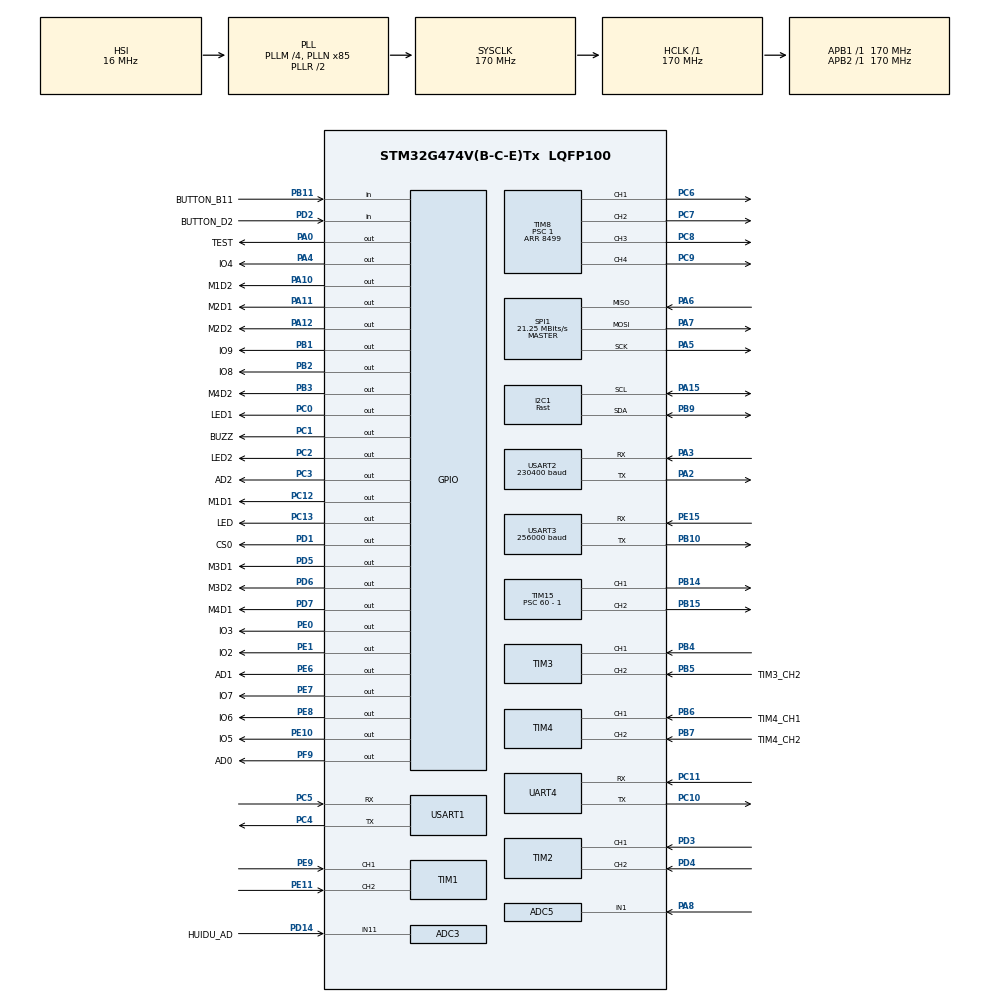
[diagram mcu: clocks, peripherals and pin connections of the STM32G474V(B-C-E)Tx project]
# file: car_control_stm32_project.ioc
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ADC3.Channel-0\#ChannelRegularConversion=ADC_CHANNEL_11
ADC3.NbrOfConversionFlag=1
ADC3.OffsetNumber-0\#ChannelRegularConversion=ADC_OFFSET_NONE
ADC3.Rank-0\#ChannelRegularConversion=1
ADC3.Resolution=ADC_RESOLUTION_12B
ADC3.SamplingTime-0\#ChannelRegularConversion=ADC_SAMPLETIME_24CYCLES_5
ADC3.master=1
ADC5.Channel-0\#ChannelRegularConversion=ADC_CHANNEL_1
ADC5.ContinuousConvMode=ENABLE
ADC5.NbrOfConversionFlag=1
ADC5.OffsetNumber-0\#ChannelRegularConversion=ADC_OFFSET_NONE
ADC5.Rank-0\#ChannelRegularConversion=1
ADC5.SamplingTime-0\#ChannelRegularConversion=ADC_SAMPLETIME_2CYCLES_5
Dma.I2C1_RX.1.Direction=DMA_PERIPH_TO_MEMORY
Dma.I2C1_RX.1.EventEnable=DISABLE
Dma.I2C1_RX.1.Instance=DMA2_Channel1
Dma.I2C1_RX.1.MemDataAlignment=DMA_MDATAALIGN_BYTE
Dma.I2C1_RX.1.MemInc=DMA_MINC_ENABLE
Dma.I2C1_RX.1.Mode=DMA_NORMAL
Dma.I2C1_RX.1.PeriphDataAlignment=DMA_PDATAALIGN_BYTE
Dma.I2C1_RX.1.PeriphInc=DMA_PINC_DISABLE
Dma.I2C1_RX.1.Polarity=HAL_DMAMUX_REQ_GEN_RISING
Dma.I2C1_RX.1.Priority=DMA_PRIORITY_HIGH
Dma.I2C1_RX.1.RequestNumber=1
Dma.I2C1_RX.1.SignalID=NONE
Dma.I2C1_RX.1.SyncEnable=DISABLE
Dma.I2C1_RX.1.SyncPolarity=HAL_DMAMUX_SYNC_NO_EVENT
Dma.I2C1_RX.1.SyncRequestNumber=1
Dma.I2C1_RX.1.SyncSignalID=NONE
Dma.Request0=UART4_RX
Dma.Request1=I2C1_RX
Dma.Request2=UART4_TX
Dma.Request3=USART3_TX
Dma.UART4_RX.0.Direction=DMA_PERIPH_TO_MEMORY
Dma.UART4_RX.0.EventEnable=DISABLE
Dma.UART4_RX.0.Instance=DMA1_Channel7
Dma.UART4_RX.0.MemDataAlignment=DMA_MDATAALIGN_BYTE
Dma.UART4_RX.0.MemInc=DMA_MINC_ENABLE
Dma.UART4_RX.0.Mode=DMA_CIRCULAR
Dma.UART4_RX.0.PeriphDataAlignment=DMA_PDATAALIGN_BYTE
Dma.UART4_RX.0.PeriphInc=DMA_PINC_DISABLE
Dma.UART4_RX.0.Polarity=HAL_DMAMUX_REQ_GEN_RISING
Dma.UART4_RX.0.Priority=DMA_PRIORITY_HIGH
Dma.UART4_RX.0.RequestNumber=1
Dma.UART4_RX.0.SignalID=NONE
Dma.UART4_RX.0.SyncEnable=DISABLE
Dma.UART4_RX.0.SyncPolarity=HAL_DMAMUX_SYNC_NO_EVENT
Dma.UART4_RX.0.SyncRequestNumber=1
Dma.UART4_RX.0.SyncSignalID=NONE
Dma.UART4_TX.2.Direction=DMA_MEMORY_TO_PERIPH
Dma.UART4_TX.2.EventEnable=DISABLE
Dma.UART4_TX.2.Instance=DMA1_Channel2
Dma.UART4_TX.2.MemDataAlignment=DMA_MDATAALIGN_BYTE
Dma.UART4_TX.2.MemInc=DMA_MINC_ENABLE
Dma.UART4_TX.2.Mode=DMA_NORMAL
Dma.UART4_TX.2.PeriphDataAlignment=DMA_PDATAALIGN_BYTE
Dma.UART4_TX.2.PeriphInc=DMA_PINC_DISABLE
Dma.UART4_TX.2.Polarity=HAL_DMAMUX_REQ_GEN_RISING
Dma.UART4_TX.2.Priority=DMA_PRIORITY_MEDIUM
Dma.UART4_TX.2.RequestNumber=1
Dma.UART4_TX.2.SignalID=NONE
Dma.UART4_TX.2.SyncEnable=DISABLE
Dma.UART4_TX.2.SyncPolarity=HAL_DMAMUX_SYNC_NO_EVENT
Dma.UART4_TX.2.SyncRequestNumber=1
Dma.UART4_TX.2.SyncSignalID=NONE
Dma.USART3_TX.3.Direction=DMA_MEMORY_TO_PERIPH
Dma.USART3_TX.3.EventEnable=DISABLE
Dma.USART3_TX.3.Instance=DMA1_Channel1
Dma.USART3_TX.3.MemDataAlignment=DMA_MDATAALIGN_BYTE
Dma.USART3_TX.3.MemInc=DMA_MINC_ENABLE
Dma.USART3_TX.3.Mode=DMA_NORMAL
Dma.USART3_TX.3.PeriphDataAlignment=DMA_PDATAALIGN_BYTE
Dma.USART3_TX.3.PeriphInc=DMA_PINC_DISABLE
Dma.USART3_TX.3.Polarity=HAL_DMAMUX_REQ_GEN_RISING
Dma.USART3_TX.3.Priority=DMA_PRIORITY_HIGH
Dma.USART3_TX.3.RequestNumber=1
Dma.USART3_TX.3.SignalID=NONE
Dma.USART3_TX.3.SyncEnable=DISABLE
Dma.USART3_TX.3.SyncPolarity=HAL_DMAMUX_SYNC_NO_EVENT
Dma.USART3_TX.3.SyncRequestNumber=1
Dma.USART3_TX.3.SyncSignalID=NONE
I2C1.I2C_Speed_Mode=I2C_Fast
I2C1.Timing=0x10802D9B
Mcu.Family=STM32G4
Mcu.Name=STM32G474V(B-C-E)Tx
Mcu.Package=LQFP100
NVIC.DMA1_Channel1_IRQn=true\:2\:0\:true\:false\:true\:false\:true\:true
NVIC.DMA1_Channel2_IRQn=true\:9\:0\:true\:false\:true\:false\:true\:true
NVIC.DMA1_Channel7_IRQn=true\:4\:0\:true\:false\:true\:false\:true\:true
NVIC.DMA2_Channel1_IRQn=true\:1\:0\:true\:false\:true\:false\:true\:true
NVIC.I2C1_ER_IRQn=true\:1\:0\:true\:false\:true\:true\:true\:true
NVIC.I2C1_EV_IRQn=true\:1\:0\:true\:false\:true\:true\:true\:true
NVIC.PriorityGroup=NVIC_PRIORITYGROUP_4
NVIC.TIM1_TRG_COM_TIM17_IRQn=true\:15\:0\:false\:false\:true\:false\:true\:true
NVIC.TIM4_IRQn=true\:2\:0\:true\:false\:true\:true\:true\:true
NVIC.TIM5_IRQn=true\:3\:0\:true\:false\:true\:true\:true\:true
NVIC.UART4_IRQn=true\:4\:0\:true\:false\:true\:true\:true\:true
NVIC.USART1_IRQn=true\:7\:0\:true\:false\:true\:true\:true\:true
NVIC.USART2_IRQn=true\:0\:0\:true\:false\:true\:true\:true\:true
NVIC.USART3_IRQn=true\:2\:0\:true\:false\:true\:true\:true\:true
PA0.GPIO_Label=TEST
PA0.Signal=GPIO_Output
PA10.GPIO_Label=M1D2
PA10.Signal=GPIO_Output
PA11.GPIO_Label=M2D1
PA11.Signal=GPIO_Output
PA12.GPIO_Label=M2D2
PA12.Signal=GPIO_Output
PA13.Mode=Serial_Wire
PA13.Signal=SYS_JTMS-SWDIO
PA14.Mode=Serial_Wire
PA14.Signal=SYS_JTCK-SWCLK
PA15.Mode=I2C
PA15.Signal=I2C1_SCL
PA2.Mode=Asynchronous
PA2.Signal=USART2_TX
PA3.Mode=Asynchronous
PA3.Signal=USART2_RX
PA4.GPIO_Label=IO4
PA4.Signal=GPIO_Output
PA5.Mode=Full_Duplex_Master
PA5.Signal=SPI1_SCK
PA6.Mode=Full_Duplex_Master
PA6.Signal=SPI1_MISO
PA7.Mode=Full_Duplex_Master
PA7.Signal=SPI1_MOSI
PA8.Mode=IN1-Single-Ended
PA8.Signal=ADC5_IN1
PB1.GPIO_Label=IO9
PB1.Signal=GPIO_Output
PB10.Mode=Asynchronous
PB10.Signal=USART3_TX
PB11.GPIO_Label=BUTTON_B11
PB11.GPIO_PuPd=GPIO_PULLUP
PB11.Signal=GPIO_Input
PB14.Signal=S_TIM15_CH1
PB15.Signal=S_TIM15_CH2
PB2.GPIO_Label=IO8
PB2.Signal=GPIO_Output
PB3.GPIO_Label=M4D2
PB3.Signal=GPIO_Output
PB4.Signal=S_TIM3_CH1
PB5.GPIO_Label=TIM3_CH2
PB5.Signal=S_TIM3_CH2
PB6.GPIO_Label=TIM4_CH1
PB6.Signal=S_TIM4_CH1
PB7.GPIO_Label=TIM4_CH2
PB7.Signal=S_TIM4_CH2
PB9.Mode=I2C
PB9.Signal=I2C1_SDA
PC0.GPIO_Label=LED1
PC0.Signal=GPIO_Output
PC1.GPIO_Label=BUZZ
PC1.Signal=GPIO_Output
PC10.Mode=Asynchronous
PC10.Signal=UART4_TX
PC11.Mode=Asynchronous
PC11.Signal=UART4_RX
PC12.GPIO_Label=M1D1
PC12.Signal=GPIO_Output
PC13.GPIO_Label=LED
PC13.Signal=GPIO_Output
PC2.GPIO_Label=LED2
PC2.Signal=GPIO_Output
PC3.GPIO_Label=AD2
PC3.Signal=GPIO_Output
PC4.Mode=Asynchronous
PC4.Signal=USART1_TX
PC5.Mode=Asynchronous
PC5.Signal=USART1_RX
PC6.Signal=S_TIM8_CH1
PC7.Signal=S_TIM8_CH2
PC8.Signal=S_TIM8_CH3
PC9.Signal=S_TIM8_CH4
PD1.GPIO_Label=CS0
PD1.Signal=GPIO_Output
PD14.GPIO_Label=HUIDU_AD
PD14.Mode=IN11-Single-Ended
PD14.Signal=ADC3_IN11
PD2.GPIO_Label=BUTTON_D2
PD2.GPIO_PuPd=GPIO_PULLUP
PD2.Signal=GPIO_Input
PD3.Signal=S_TIM2_CH1
PD4.Signal=S_TIM2_CH2
PD5.GPIO_Label=M3D1
PD5.Signal=GPIO_Output
PD6.GPIO_Label=M3D2
PD6.Signal=GPIO_Output
PD7.GPIO_Label=M4D1
PD7.Signal=GPIO_Output
PE0.GPIO_Label=IO3
PE0.Signal=GPIO_Output
PE1.GPIO_Label=IO2
PE1.Signal=GPIO_Output
PE10.GPIO_Label=IO5
PE10.Signal=GPIO_Output
PE11.Signal=S_TIM1_CH2
PE15.Mode=Asynchronous
PE15.Signal=USART3_RX
PE6.GPIO_Label=AD1
PE6.Signal=GPIO_Output
PE7.GPIO_Label=IO7
PE7.Signal=GPIO_Output
PE8.GPIO_Label=IO6
PE8.Signal=GPIO_Output
PE9.Signal=S_TIM1_CH1
PF9.GPIO_Label=AD0
PF9.Signal=GPIO_Output
ProjectManager.HeapSize=0x200
ProjectManager.StackSize=0x400
ProjectManager.TargetToolchain=MDK-ARM V5.32
RCC.ADC12Freq_Value=170000000
RCC.ADC345Freq_Value=170000000
RCC.AHBFreq_Value=170000000
RCC.APB1Freq_Value=170000000
RCC.APB1TimFreq_Value=170000000
RCC.APB2Freq_Value=170000000
RCC.APB2TimFreq_Value=170000000
RCC.CortexFreq_Value=170000000
RCC.EXTERNAL_CLOCK_VALUE=12288000
RCC.HCLKFreq_Value=170000000
RCC.HSE_VALUE=8000000
RCC.HSI48_VALUE=48000000
RCC.HSI_VALUE=16000000
RCC.LSE_VALUE=32768
RCC.PLLM=RCC_PLLM_DIV4
RCC.PLLN=85
RCC.SYSCLKFreq_VALUE=170000000
RCC.SYSCLKSource=RCC_SYSCLKSOURCE_PLLCLK
RCC.USBFreq_Value=170000000
RCC.VCOOutputFreq_Value=340000000
SH.S_TIM15_CH1.0=TIM15_CH1,PWM Generation1 CH1
SH.S_TIM15_CH2.0=TIM15_CH2,PWM Generation2 CH2
SH.S_TIM1_CH1.0=TIM1_CH1,Encoder_Interface
SH.S_TIM1_CH2.0=TIM1_CH2,Encoder_Interface
SH.S_TIM2_CH1.0=TIM2_CH1,Encoder_Interface
SH.S_TIM2_CH2.0=TIM2_CH2,Encoder_Interface
SH.S_TIM3_CH1.0=TIM3_CH1,Encoder_Interface
SH.S_TIM3_CH2.0=TIM3_CH2,Encoder_Interface
SH.S_TIM4_CH1.0=TIM4_CH1,Encoder_Interface
SH.S_TIM4_CH2.0=TIM4_CH2,Encoder_Interface
SH.S_TIM8_CH1.0=TIM8_CH1,PWM Generation1 CH1
SH.S_TIM8_CH2.0=TIM8_CH2,PWM Generation2 CH2
SH.S_TIM8_CH3.0=TIM8_CH3,PWM Generation3 CH3
SH.S_TIM8_CH4.0=TIM8_CH4,PWM Generation4 CH4
SPI1.BaudRatePrescaler=SPI_BAUDRATEPRESCALER_8
SPI1.CalculateBaudRate=21.25 MBits/s
SPI1.Direction=SPI_DIRECTION_2LINES
SPI1.Mode=SPI_MODE_MASTER
SPI1.VirtualType=VM_MASTER
TIM1.EncoderMode=TIM_ENCODERMODE_TI12
TIM15.AutoReloadPreload=TIM_AUTORELOAD_PRELOAD_ENABLE
TIM15.Channel-PWM\ Generation1\ CH1=TIM_CHANNEL_1
TIM15.Channel-PWM\ Generation2\ CH2=TIM_CHANNEL_2
TIM15.PeriodNoDither=50000-1
TIM15.Prescaler=60 - 1
TIM15.PulseNoDither_1=0
TIM15.PulseNoDither_2=0
TIM2.EncoderMode=TIM_ENCODERMODE_TI12
TIM3.EncoderMode=TIM_ENCODERMODE_TI12
TIM4.EncoderMode=TIM_ENCODERMODE_TI12
TIM5.AutoReloadPreload=TIM_AUTORELOAD_PRELOAD_ENABLE
TIM5.PeriodNoDither=1000-1
TIM5.Prescaler=150-1
TIM6.AutoReloadPreload=TIM_AUTORELOAD_PRELOAD_ENABLE
TIM6.PeriodNoDither=250-1
TIM6.Prescaler=3-1
TIM8.AutoReloadPreload=TIM_AUTORELOAD_PRELOAD_ENABLE
TIM8.Channel-PWM\ Generation1\ CH1=TIM_CHANNEL_1
TIM8.Channel-PWM\ Generation2\ CH2=TIM_CHANNEL_2
TIM8.Channel-PWM\ Generation3\ CH3=TIM_CHANNEL_3
TIM8.Channel-PWM\ Generation4\ CH4=TIM_CHANNEL_4
TIM8.PeriodNoDither=8499
TIM8.Prescaler=1
USART1.VirtualMode-Asynchronous=VM_ASYNC
USART2.BaudRate=230400
USART2.VirtualMode-Asynchronous=VM_ASYNC
USART3.BaudRate=256000
USART3.VirtualMode-Asynchronous=VM_ASYNC
VP_SYS_VS_DBSignals.Mode=DisableDeadBatterySignals
VP_TIM15_VS_ClockSourceINT.Mode=Internal
VP_TIM5_VS_ClockSourceINT.Mode=Internal
VP_TIM6_VS_ClockSourceINT.Mode=Enable_Timer
board=custom

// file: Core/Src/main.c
/* USER CODE BEGIN Header */
/**
 ******************************************************************************
 * @file           : main.c
 * @brief          : Main program body
 ******************************************************************************
 * @attention
 *
 * Copyright (c) 2025 STMicroelectronics.
 * All rights reserved.
 *
 * This software is licensed under terms that can be found in the LICENSE file
 * in the root directory of this software component.
 * If no LICENSE file comes with this software, it is provided AS-IS.
 *
 ******************************************************************************
 */
/* USER CODE END Header */
#include "main.h"
#include "adc.h"
#include "dma.h"
#include "i2c.h"
#include "spi.h"
#include "tim.h"
#include "usart.h"
#include "gpio.h"

/* USER CODE BEGIN Includes */
#include "log.h"
#include "status.h"
#include "uart_it.h"
#include "pid.h"
#include "wheel.h"
#include "servo.h"
#include "led.h"
#include "button.h"
#include "math_tool.h"
#include "stdio.h"
#include <stdlib.h>
#include "task.h"
#include "lora.h"
#include "maixcam.h"
#include "Emm_v5.h"
#include "ball_control.h"
#include "ball_id.h"

/* USER CODE END Includes */

/* USER CODE BEGIN PV */
int16_t cmd_speed = 12;
extern uint8_t cross_cnt;
extern int16_t  task2_front_kick_pwm;
extern uint32_t task2_front_kick_time;
extern int16_t  task2_back_swing_pwm;
extern uint32_t task2_back_swing_time;
extern int16_t  task2_balance_min_pwm;
extern int16_t  task2_recover_pwm;
extern uint32_t task2_recover_time;
extern uint8_t  task2_direct_pwm;
extern ADC_HandleTypeDef hadc5;
/* USER CODE END PV */

void SystemClock_Config(void);
/* USER CODE BEGIN PFP */
void gan_init(void);
int fputc(int ch, FILE *f)
{
    while (!(USART1->ISR & USART_ISR_TXE));
    USART1->TDR = (uint8_t)ch;
    return ch;
}
/* USER CODE END PFP */

int main(void)
{

  /* MCU Configuration--------------------------------------------------------*/

  /* Reset of all peripherals, Initializes the Flash interface and the Systick. */
  HAL_Init();

  /* Configure the system clock */
  SystemClock_Config();

  /* Initialize all configured peripherals */
  MX_GPIO_Init();
  MX_DMA_Init();
  MX_ADC3_Init();
  MX_TIM1_Init();
  MX_TIM2_Init();
  MX_TIM3_Init();
  MX_TIM4_Init();
  MX_TIM8_Init();
  MX_TIM15_Init();
  MX_UART4_Init();
  MX_USART1_UART_Init();
  MX_USART2_UART_Init();
  MX_USART3_UART_Init();
  MX_TIM5_Init();
  MX_TIM6_Init();
  MX_I2C1_Init();
  MX_SPI1_Init();
  MX_ADC5_Init();
  /* USER CODE BEGIN 2 */
  init_status(&status, 5);
  iic_gyr_read_dma(&hi2c1, &status.sensor.gy901);
  status.state.motion = STOP;
  init_uart_pid_tune();
  init_uart_gyr();
  init_stepper_uart();
  init_maixcam_uart();
  ESP8266_Init("F521F520","f521f520","192.168.112.154","8080");
  esp8266_ready = 1;
  gan_init();
  status.device.buzzer.on = 1;
  status.device.buzzer.off_time = 400;
  HAL_TIM_Base_Start_IT(&htim5);
  /* USER CODE END 2 */

  /* Infinite loop */
  /* USER CODE BEGIN WHILE */

  while (1) {
    uart_gyr_ensure_receive(&status.sensor.uart_gyr);
    {
      static uint32_t maixcam_poll_next;
      if (status.state.time >= maixcam_poll_next) {
        maixcam_poll((uint32_t)status.state.time);
        maixcam_poll_next = status.state.time + 8;
      }
    }
    /* KEY1 (B11, active-low) advances to next identification run */
    {
      static uint8_t last_b11 = 1;
      uint8_t now_b11 = status.device.button_B11.now;
      if (last_b11 == 1 && now_b11 == 0 && !ball_id.active) {
        ball_id_try_next(&status);
      }
      last_b11 = now_b11;
    }

    if (ball_id.active) {
      ball_id_service(&status);
      ball_id_log_service(&status);
    } else {
      ball_control_service(&status);
    }
    stepper_service();
    task7_flush();
    ball_id_log_flush();
    task4_debug_flush();
    PERIODIC_START(Gray_ADC_Update, 5)
      driver_gw_analogue(&status.sensor.gw_analogue);
    PERIODIC_END
    /* USER CODE END WHILE */

  }
}

void SystemClock_Config(void)
{
  RCC_OscInitTypeDef RCC_OscInitStruct = {0};
  RCC_ClkInitTypeDef RCC_ClkInitStruct = {0};

  /** Configure the main internal regulator output voltage
  */
  HAL_PWREx_ControlVoltageScaling(PWR_REGULATOR_VOLTAGE_SCALE1_BOOST);

  /** Initializes the RCC Oscillators according to the specified parameters
  * in the RCC_OscInitTypeDef structure.
  */
  RCC_OscInitStruct.OscillatorType = RCC_OSCILLATORTYPE_HSI;
  RCC_OscInitStruct.HSIState = RCC_HSI_ON;
  RCC_OscInitStruct.HSICalibrationValue = RCC_HSICALIBRATION_DEFAULT;
  RCC_OscInitStruct.PLL.PLLState = RCC_PLL_ON;
  RCC_OscInitStruct.PLL.PLLSource = RCC_PLLSOURCE_HSI;
  RCC_OscInitStruct.PLL.PLLM = RCC_PLLM_DIV4;
  RCC_OscInitStruct.PLL.PLLN = 85;
  RCC_OscInitStruct.PLL.PLLP = RCC_PLLP_DIV2;
  RCC_OscInitStruct.PLL.PLLQ = RCC_PLLQ_DIV2;
  RCC_OscInitStruct.PLL.PLLR = RCC_PLLR_DIV2;
  if (HAL_RCC_OscConfig(&RCC_OscInitStruct) != HAL_OK)
  {
    Error_Handler();
  }

  /** Initializes the CPU, AHB and APB buses clocks
  */
  RCC_ClkInitStruct.ClockType = RCC_CLOCKTYPE_HCLK|RCC_CLOCKTYPE_SYSCLK
                              |RCC_CLOCKTYPE_PCLK1|RCC_CLOCKTYPE_PCLK2;
  RCC_ClkInitStruct.SYSCLKSource = RCC_SYSCLKSOURCE_PLLCLK;
  RCC_ClkInitStruct.AHBCLKDivider = RCC_SYSCLK_DIV1;
  RCC_ClkInitStruct.APB1CLKDivider = RCC_HCLK_DIV1;
  RCC_ClkInitStruct.APB2CLKDivider = RCC_HCLK_DIV1;

  if (HAL_RCC_ClockConfig(&RCC_ClkInitStruct, FLASH_LATENCY_4) != HAL_OK)
  {
    Error_Handler();
  }
}

/* USER CODE BEGIN 4 */
void gan_init(void) {
  /* 55 deg at 128 microsteps: 25600 * 55 / 360 ≈ 3911 pulses */
  Emm_V5_En_Control(1, true, false);
  Emm_V5_Reset_CurPos_To_Zero(1);
  HAL_Delay(50);
  Emm_V5_Pos_Control(1, 0, 50, 0, BALL_STEPPER_ZERO_PULSE, true, false);
  while (huart3.gState != HAL_UART_STATE_READY) {}
}
/* USER CODE END 4 */

void Error_Handler(void)
{
  __disable_irq();
  while (1) {
  }
}
